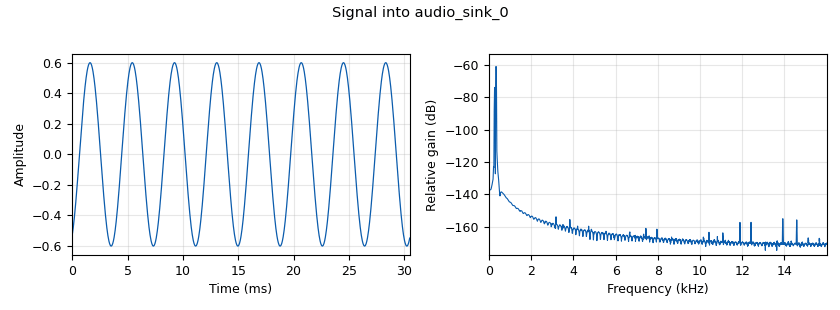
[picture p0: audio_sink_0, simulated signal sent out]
options:
  parameters:
    category: Custom
    generate_options: qt_gui
    id: top_block
    output_language: python
  states: {}

blocks:
- name: samp_rate
  id: variable
  parameters:
    value: '32000'
  states: {}
- name: audio_sink_0
  id: audio_sink
  parameters:
    samp_rate: samp_rate
  states: {}
- name: blocks_add_const_vxx_0
  id: blocks_add_const_vxx
  parameters:
    const: '0'
    type: float
  states: {}
- name: blocks_repeat_0
  id: blocks_repeat
  parameters:
    interp: '32000'
    type: float
  states: {}
- name: blocks_throttle_0
  id: blocks_throttle
  parameters:
    samples_per_second: samp_rate
    type: float
  states: {}
- name: blocks_vco_f_0
  id: blocks_vco_f
  parameters:
    amplitude: '0.6'
    samp_rate: samp_rate
    sensitivity: '6.28'
  states: {}
- name: blocks_vector_source_x_0_0
  id: blocks_vector_source_x
  parameters:
    repeat: 'True'
    type: float
    vector: (262, 262, 294, 262, 349, 330, 262, 262, 294, 262, 392, 349, 262, 262, 524, 440, 349, 330, 294, 466, 466, 440, 349, 392, 349)
  states: {}

connections:
- [blocks_add_const_vxx_0, '0', blocks_repeat_0, '0']
- [blocks_repeat_0, '0', blocks_vco_f_0, '0']
- [blocks_throttle_0, '0', audio_sink_0, '0']
- [blocks_vco_f_0, '0', blocks_throttle_0, '0']
- [blocks_vector_source_x_0_0, '0', blocks_add_const_vxx_0, '0']

metadata:
  file_format: 1
  grc_version: v3.11.0.0git-801-gaf83bc51
